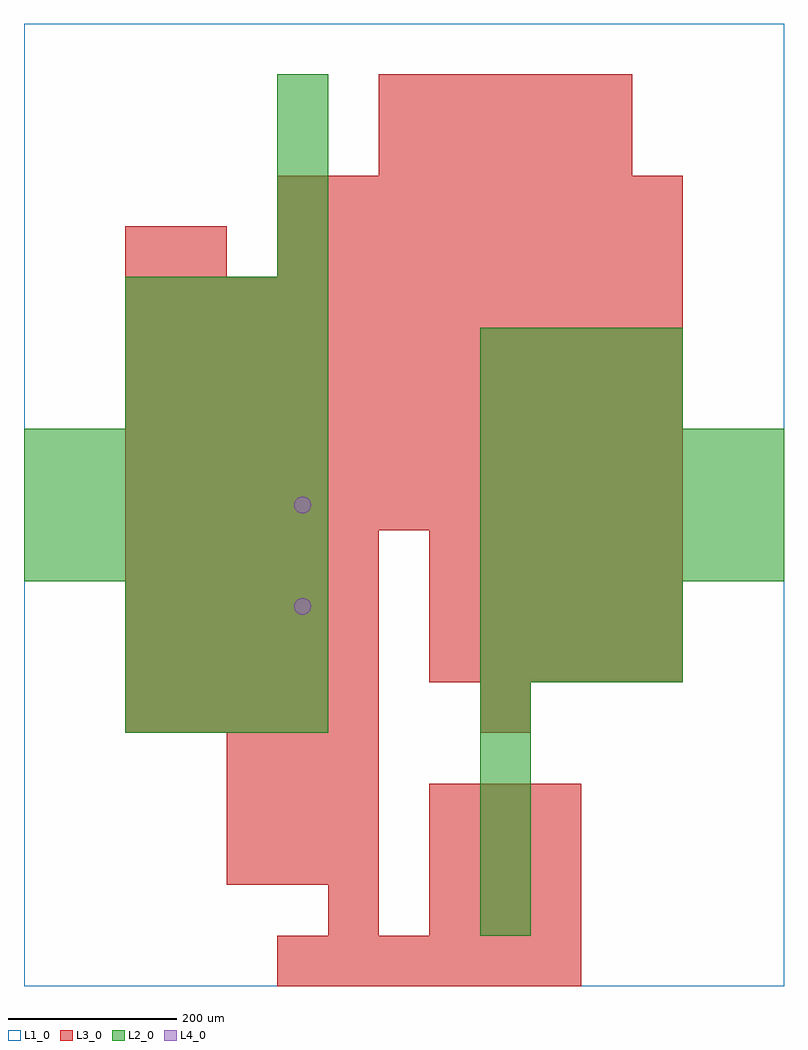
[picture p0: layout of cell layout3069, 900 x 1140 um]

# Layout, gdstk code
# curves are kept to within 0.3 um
import gdstk
lib = gdstk.Library(unit=1e-6, precision=1e-09)
def R(c, l, rs):  # rectangles x0, y0, x1, y1
    for r in rs: c.add(gdstk.rectangle(r[:2], r[2:], *l))
def A(c, l, x, y, w, h, nx, ny, dx, dy):  # array of equal rectangles
    R(c, l, [(x+i*dx, y+j*dy, x+i*dx+w, y+j*dy+h) for i in range(nx) for j in range(ny)])
def P(c, l, *ps):  # polygons
    for p in ps: c.add(gdstk.Polygon(p, *l))
L1_0 = (1, 0)
L2_0 = (2, 0)
L3_0 = (3, 0)
L4_0 = (4, 0)

layout3069 = lib.new_cell('layout3069')
R(layout3069, L1_0, [(0,0,900,1140)])
A(layout3069, L2_0, 540, 60, 60, 60, 1, 5, 0, 60)
A(layout3069, L2_0, 120, 300, 60, 60, 4, 3, 60, 60)
A(layout3069, L2_0, 540, 360, 60, 60, 4, 2, 60, 60)
A(layout3069, L2_0, 0, 480, 60, 60, 6, 3, 60, 60)
A(layout3069, L2_0, 540, 480, 60, 60, 6, 3, 60, 60)
A(layout3069, L2_0, 120, 660, 60, 60, 4, 3, 60, 60)
A(layout3069, L2_0, 540, 660, 60, 60, 4, 2, 60, 60)
A(layout3069, L2_0, 300, 840, 60, 60, 1, 4, 0, 60)
A(layout3069, L3_0, 300, 0, 60, 60, 6, 1, 60, 0)
A(layout3069, L3_0, 480, 60, 60, 60, 3, 3, 60, 60)
A(layout3069, L3_0, 240, 120, 60, 60, 3, 3, 60, 60)
A(layout3069, L3_0, 120, 300, 60, 60, 5, 4, 60, 60)
A(layout3069, L3_0, 480, 360, 60, 60, 5, 3, 60, 60)
A(layout3069, L3_0, 120, 540, 60, 60, 11, 5, 60, 60)
A(layout3069, L3_0, 300, 840, 60, 60, 8, 2, 60, 60)
A(layout3069, L3_0, 420, 960, 60, 60, 5, 2, 60, 60)
R(layout3069, L3_0, [(360,60,420,120), (540,300,600,360), (120,840,180,900), (180,840,240,900)])
P(layout3069, L4_0, [(340,450),(339.239,453.827),(337.071,457.071),(333.827,459.239),(330,460),(326.173,459.239),(322.929,457.071),(320.761,453.827),(320,450),(320.761,446.173),(322.929,442.929),(326.173,440.761),(330,440),(333.827,440.761),(337.071,442.929),(339.239,446.173)],
  [(340,570),(339.239,573.827),(337.071,577.071),(333.827,579.239),(330,580),(326.173,579.239),(322.929,577.071),(320.761,573.827),(320,570),(320.761,566.173),(322.929,562.929),(326.173,560.761),(330,560),(333.827,560.761),(337.071,562.929),(339.239,566.173)])

lib.write_gds('layout3069.gds')
